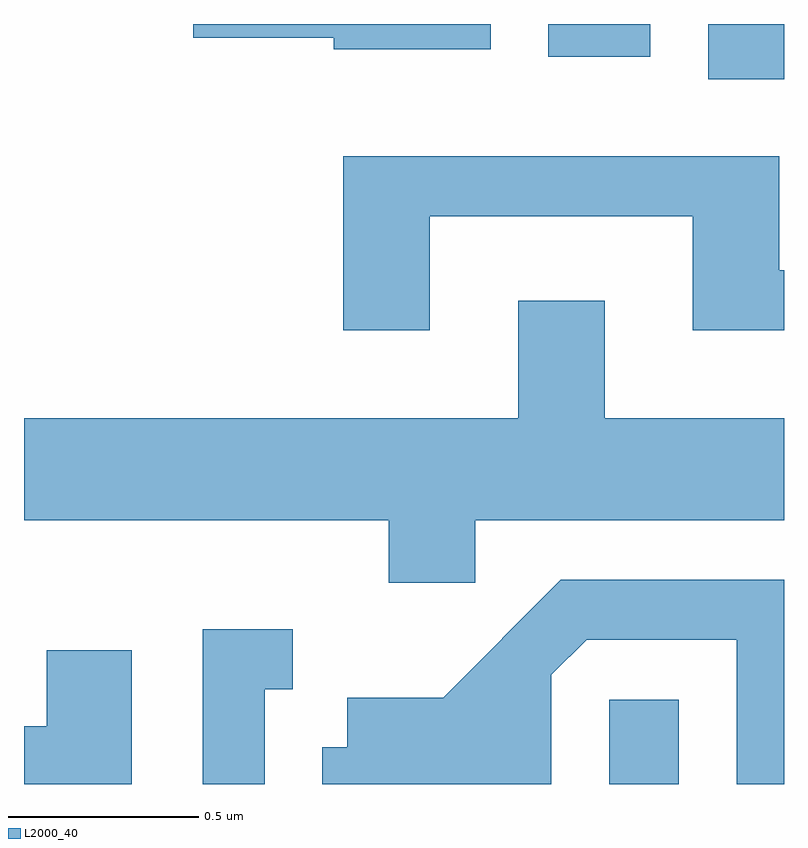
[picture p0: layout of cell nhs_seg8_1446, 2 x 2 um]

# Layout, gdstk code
import gdstk
lib = gdstk.Library(unit=1e-6, precision=1e-09)
def R(c, l, rs):  # rectangles x0, y0, x1, y1
    for r in rs: c.add(gdstk.rectangle(r[:2], r[2:], *l))
def P(c, l, *ps):  # polygons
    for p in ps: c.add(gdstk.Polygon(p, *l))
L2000_40 = (2000, 40)

nhs_seg8_1446 = lib.new_cell('nhs_seg8_1446')
R(nhs_seg8_1446, L2000_40, [(197.151,1882.342,197.334,1882.564), (197.411,1884.196,197.611,1884.342), (196.991,1884.256,197.259,1884.342)])
P(nhs_seg8_1446, L2000_40, [(196.839,1884.342),(196.056,1884.342),(196.056,1884.306),(196.426,1884.306),(196.426,1884.276),(196.839,1884.276)],
  [(196.679,1883.836),(197.371,1883.836),(197.371,1883.536),(197.611,1883.536),(197.611,1883.694),(197.599,1883.694),(197.599,1883.994),(196.451,1883.994),(196.451,1883.536),(196.679,1883.536)],
  [(196.799,1883.036),(197.611,1883.036),(197.611,1883.304),(197.139,1883.304),(197.139,1883.614),(196.911,1883.614),(196.911,1883.304),(195.611,1883.304),(195.611,1883.036),(196.571,1883.036),(196.571,1882.871),(196.799,1882.871)],
  [(196.999,1882.629),(197.092,1882.721),(197.486,1882.721),(197.486,1882.342),(197.611,1882.342),(197.611,1882.879),(197.024,1882.879),(196.714,1882.569),(196.461,1882.569),(196.461,1882.439),(196.396,1882.439),(196.396,1882.342),(196.999,1882.342)],
  [(196.244,1882.591),(196.318,1882.591),(196.318,1882.749),(196.081,1882.749),(196.081,1882.342),(196.244,1882.342)],
  [(195.894,1882.694),(195.671,1882.694),(195.671,1882.494),(195.611,1882.494),(195.611,1882.342),(195.894,1882.342)])

lib.write_gds('nhs_seg8_1446.gds')
